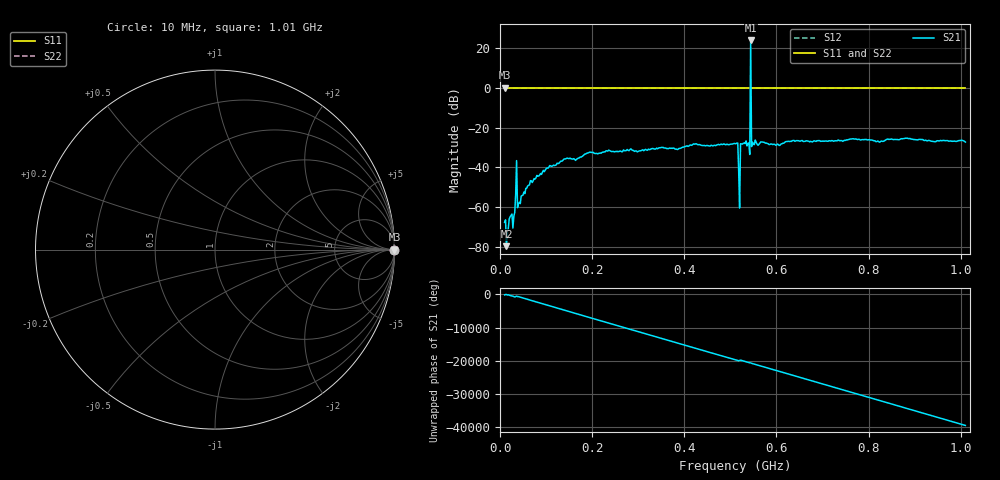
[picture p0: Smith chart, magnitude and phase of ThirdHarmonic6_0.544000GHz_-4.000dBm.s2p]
! 8/15/2025 5:07:19 PM
! C:\ANRITSUVNA\TEMP\TEMP.S2P
! CHANNEL.1
! TR.MEASUREMENT
! RAW.DATA
! RF.CORRECTION.OFF
! AVERAGING.OFF
! IF.BANDWIDTH: 5KHZ
! SWEEPTYPE:  FREQ.SWEEP(Linear)
! Reference Plane Port Info
! PORT:  PORT1  PORT2
! DISTANCE:  0  m  0  m
! TIME:  0  s  0  s
! PHASE.OFFSET:  0  deg.  0  deg.
! LOSS:  0  dB  0  dB
! REF.LOSS:  0  dB  0  dB
! REF.FREQ:  0  Hz  0  Hz
! Power Info
! POWER:  -20  dBm  -20  dBm
! EFF.POWER:  -20  dBm  -20  dBm
! SOURCE.ATTEN:  0  dB  0  dB
! TEST.ATTEN:  0  dB  0  dB
# GHZ S RI R 50.0
! FREQ.GHZ  S11RE  S11IM  S21RE  S21IM  S12RE  S12IM  S22RE  S22IM
!; PortSelection: Port_12
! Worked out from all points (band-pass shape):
!   501 points, 10 MHz to 1.01 GHz, reference 50 ohm
!   highest |S21| = 23.65 dB at 544 MHz (marker M1); lowest = -79.4 dB at 14 MHz (marker M2)
!   |S21| within 3 dB of the highest: 543.895 MHz to 544.1129 MHz (217.9 kHz wide, 0.0401 % of centre)
!   lowest |S11| = 0.0 dB at 10 MHz (marker M3)
!   |S11| at or under -10 dB: nowhere
!   |S22| runs from 0.0 to 0.0 dB; largest |S21 - S12| = 15
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0.01  1 0  -0.000398 -0.000142  1 0  1 0
0.014  1 0  6.5e-05 -8.48e-05  1 0  1 0
0.028  1 0  -0.000302 -3.64e-05  1 0  1 0
0.038  1 0  0.000453 0.000872  1 0  1 0
0.042  1 0  0.00105 -0.000838  1 0  1 0
0.064  1 0  -0.00261 0.00257  1 0  1 0
0.104  1 0  0.00559 -0.00779  1 0  1 0
0.178  1 0  -0.0184 -0.00352  1 0  1 0
0.344  1 0  0.0292 -0.00889  1 0  1 0
0.51  1 0  -0.0351 0.0185  1 0  1 0
0.514  1 0  0.0402 -0.00668  1 0  1 0
0.516  1 0  -0.00102 -0.0408  1 0  1 0
0.522  1 0  0.0343 0.0196  1 0  1 0
0.526  1 0  -0.0257 -0.0287  1 0  1 0
0.538  1 0  -0.013 0.0379  1 0  1 0
0.54  1 0  0.0377 0.0172  1 0  1 0
0.544  1 0  5.688 -14.12  1 0  1 0
0.548  1 0  0.022 0.0369  1 0  1 0
0.55  1 0  0.035 -0.0147  1 0  1 0
0.678  1 0  -0.024 -0.0365  1 0  1 0
0.844  1 0  0.0407 0.0297  1 0  1 0
1.01  1 0  -0.043 -0.00552  1 0  1 0
